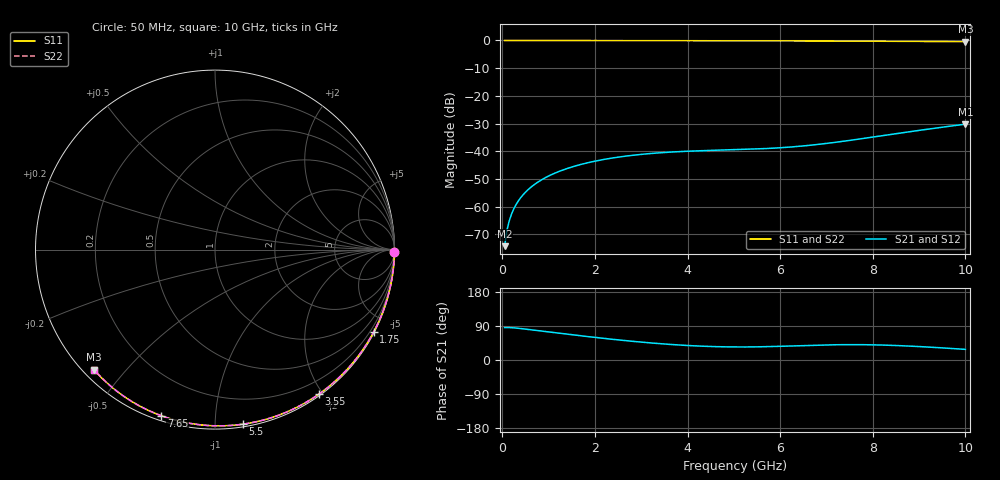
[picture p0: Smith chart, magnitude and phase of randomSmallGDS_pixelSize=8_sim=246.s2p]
! freq	dB(S11)	phase(S11)	dB(S12)	phase(S12)
!  dB(S21)	phase(S21)	dB(S22)	phase(S22)
!S-par simulation data
#  GHz  S  DB  R 50
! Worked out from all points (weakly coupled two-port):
!   200 points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, 50 MHz to 10 GHz, reference 50 ohm
!   highest |S21| = -30.23 dB at 10 GHz (marker M1); lowest = -74.3 dB at 50 MHz (marker M2)
!   lowest |S11| = -0.4 dB at 10 GHz (marker M3), VSWR 38.72, Z = 1.51 - j20.6 ohm
!   |S11| at or under -10 dB: nowhere
!   |S22| runs from -0.4 to 0.0 dB; largest |S21 - S12| = 0
!   S11 on the Smith chart (normalised r, x): 50 MHz: open; 1.75 GHz: 0.04, -4.10; 3.55 GHz: 0.02, -1.95; 5.5 GHz: 0.02, -1.17; 7.65 GHz: 0.02, -0.73; 10 GHz: 0.03, -0.41
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0.05  -0.00 -0.8  -74.27 85.6  -74.27 85.6  -0.00 -0.8
0.1  -0.00 -1.6  -68.55 85.8  -68.55 85.8  -0.00 -1.6
0.15  -0.00 -2.4  -65.12 85.7  -65.12 85.7  -0.00 -2.4
0.2  -0.00 -3.2  -62.67 85.3  -62.67 85.3  -0.00 -3.2
0.25  -0.00 -4.0  -60.75 84.8  -60.75 84.8  -0.00 -4.0
0.35  -0.00 -5.6  -57.86 83.6  -57.86 83.6  -0.00 -5.6
0.5  -0.01 -7.9  -54.79 81.5  -54.79 81.5  -0.01 -7.9
0.7  -0.01 -11.1  -51.93 78.6  -51.93 78.6  -0.01 -11.1
1  -0.02 -15.8  -48.95 74.1  -48.95 74.1  -0.02 -15.8
1.35  -0.03 -21.2  -46.52 68.9  -46.52 68.9  -0.03 -21.2
1.75  -0.03 -27.4  -44.54 63.2  -44.54 63.2  -0.03 -27.4
2.5  -0.05 -38.8  -42.13 53.1  -42.13 53.1  -0.05 -38.8
3.4  -0.07 -52.0  -40.56 43.1  -40.56 43.1  -0.07 -52.0
3.55  -0.07 -54.2  -40.39 41.8  -40.39 41.8  -0.07 -54.2
4.3  -0.09 -64.8  -39.80 36.5  -39.80 36.5  -0.09 -64.8
5.05  -0.11 -75.1  -39.43 34.4  -39.43 34.4  -0.11 -75.1
5.5  -0.13 -81.0  -39.18 34.7  -39.18 34.7  -0.13 -81.0
6.7  -0.18 -96.4  -37.75 38.9  -37.75 38.9  -0.18 -96.4
7.65  -0.24 -107.9  -35.73 40.5  -35.73 40.5  -0.24 -107.9
8.35  -0.29 -116.2  -34.03 38.9  -34.03 38.9  -0.29 -116.2
9.2  -0.37 -126.1  -32.01 34.2  -32.01 34.2  -0.37 -126.1
10  -0.45 -135.2  -30.23 28.0  -30.23 28.0  -0.45 -135.2
